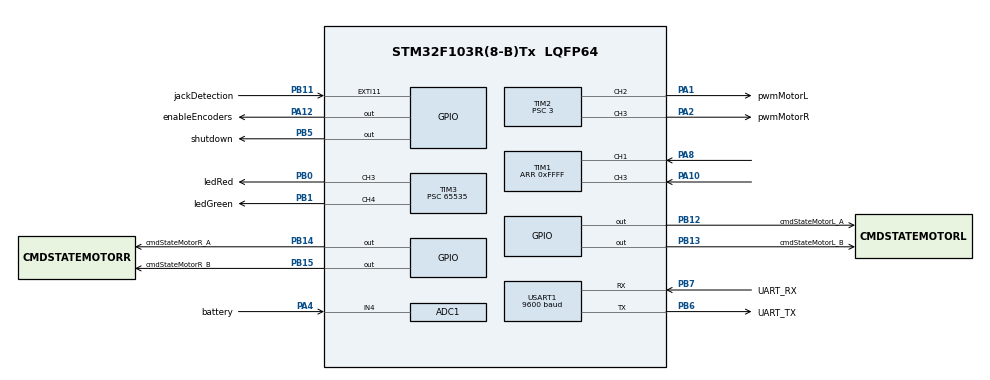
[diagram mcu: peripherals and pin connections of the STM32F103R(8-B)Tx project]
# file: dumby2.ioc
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ADC1.Channel-0\#ChannelRegularConversion=ADC_CHANNEL_4
ADC1.ContinuousConvMode=ENABLE
ADC1.DataAlign=ADC_DATAALIGN_RIGHT
ADC1.DiscontinuousConvMode=DISABLE
ADC1.EnableAnalogWatchDog=false
ADC1.EnableRegularConversion=ENABLE
ADC1.ExternalTrigConv=ADC_SOFTWARE_START
ADC1.InjNumberOfConversion=0
ADC1.NbrOfConversion=1
ADC1.NbrOfConversionFlag=1
ADC1.Rank-0\#ChannelRegularConversion=1
ADC1.SamplingTime-0\#ChannelRegularConversion=ADC_SAMPLETIME_1CYCLE_5
ADC1.ScanConvMode=ADC_SCAN_DISABLE
ADC1.master=1
Dma.ADC1.2.Direction=DMA_PERIPH_TO_MEMORY
Dma.ADC1.2.Instance=DMA1_Channel1
Dma.ADC1.2.MemDataAlignment=DMA_MDATAALIGN_HALFWORD
Dma.ADC1.2.MemInc=DMA_MINC_ENABLE
Dma.ADC1.2.Mode=DMA_CIRCULAR
Dma.ADC1.2.PeriphDataAlignment=DMA_PDATAALIGN_HALFWORD
Dma.ADC1.2.PeriphInc=DMA_PINC_DISABLE
Dma.ADC1.2.Priority=DMA_PRIORITY_LOW
Dma.Request0=USART1_TX
Dma.Request1=USART1_RX
Dma.Request2=ADC1
Dma.Request3=TIM1_CH1
Dma.Request4=TIM1_CH3
Dma.TIM1_CH1.3.Direction=DMA_PERIPH_TO_MEMORY
Dma.TIM1_CH1.3.Instance=DMA1_Channel2
Dma.TIM1_CH1.3.MemDataAlignment=DMA_MDATAALIGN_HALFWORD
Dma.TIM1_CH1.3.MemInc=DMA_MINC_ENABLE
Dma.TIM1_CH1.3.Mode=DMA_CIRCULAR
Dma.TIM1_CH1.3.PeriphDataAlignment=DMA_PDATAALIGN_HALFWORD
Dma.TIM1_CH1.3.PeriphInc=DMA_PINC_DISABLE
Dma.TIM1_CH1.3.Priority=DMA_PRIORITY_LOW
Dma.TIM1_CH3.4.Direction=DMA_PERIPH_TO_MEMORY
Dma.TIM1_CH3.4.Instance=DMA1_Channel6
Dma.TIM1_CH3.4.MemDataAlignment=DMA_MDATAALIGN_HALFWORD
Dma.TIM1_CH3.4.MemInc=DMA_MINC_ENABLE
Dma.TIM1_CH3.4.Mode=DMA_CIRCULAR
Dma.TIM1_CH3.4.PeriphDataAlignment=DMA_PDATAALIGN_HALFWORD
Dma.TIM1_CH3.4.PeriphInc=DMA_PINC_DISABLE
Dma.TIM1_CH3.4.Priority=DMA_PRIORITY_LOW
Dma.USART1_RX.1.Direction=DMA_PERIPH_TO_MEMORY
Dma.USART1_RX.1.Instance=DMA1_Channel5
Dma.USART1_RX.1.MemDataAlignment=DMA_MDATAALIGN_BYTE
Dma.USART1_RX.1.MemInc=DMA_MINC_ENABLE
Dma.USART1_RX.1.Mode=DMA_CIRCULAR
Dma.USART1_RX.1.PeriphDataAlignment=DMA_PDATAALIGN_BYTE
Dma.USART1_RX.1.PeriphInc=DMA_PINC_DISABLE
Dma.USART1_RX.1.Priority=DMA_PRIORITY_LOW
Dma.USART1_TX.0.Direction=DMA_MEMORY_TO_PERIPH
Dma.USART1_TX.0.Instance=DMA1_Channel4
Dma.USART1_TX.0.MemDataAlignment=DMA_MDATAALIGN_BYTE
Dma.USART1_TX.0.MemInc=DMA_MINC_ENABLE
Dma.USART1_TX.0.Mode=DMA_NORMAL
Dma.USART1_TX.0.PeriphDataAlignment=DMA_PDATAALIGN_BYTE
Dma.USART1_TX.0.PeriphInc=DMA_PINC_DISABLE
Dma.USART1_TX.0.Priority=DMA_PRIORITY_LOW
FREERTOS.BinarySemaphores01=synchroMes,Dynamic,NULL
FREERTOS.INCLUDE_vTaskDelayUntil=1
FREERTOS.Mutexes01=cptWD,Dynamic,NULL;wdEnable,Dynamic,NULL;batteryLvl,Dynamic,NULL;dumbyState,Dynamic,NULL;consigne,Dynamic,NULL;busy,Dynamic,NULL;activityCpt,Dynamic,NULL
FREERTOS.Tasks01=reqManager,0,128,StartReqManagerTask,Default,NULL,Dynamic,NULL,NULL;batteryFilter,-3,128,StartBatteryFilterTask,Default,NULL,Dynamic,NULL,NULL;ledManager,-3,128,StartledManagerTask,Default,NULL,Dynamic,NULL,NULL;extinction,-3,128,StartExtinctionTask,Default,NULL,Dynamic,NULL,NULL;controlLaw,-3,128,StartControlLawTask,Default,NULL,Dynamic,NULL,NULL;watchDogCtl,-3,128,StartWDCtl,Default,NULL,Dynamic,NULL,NULL
FREERTOS.configGENERATE_RUN_TIME_STATS=1
FREERTOS.configTOTAL_HEAP_SIZE=6000
FREERTOS.configUSE_STATS_FORMATTING_FUNCTIONS=1
FREERTOS.configUSE_TRACE_FACILITY=1
Mcu.Family=STM32F1
Mcu.Name=STM32F103R(8-B)Tx
Mcu.Package=LQFP64
NVIC.DMA1_Channel1_IRQn=true\:5\:0\:false\:false\:true\:true\:false
NVIC.DMA1_Channel2_IRQn=true\:5\:0\:false\:false\:true\:true\:false
NVIC.DMA1_Channel4_IRQn=true\:5\:0\:false\:false\:true\:true\:false
NVIC.DMA1_Channel5_IRQn=true\:5\:0\:false\:false\:true\:true\:false
NVIC.DMA1_Channel6_IRQn=true\:5\:0\:false\:false\:true\:true\:false
NVIC.PriorityGroup=NVIC_PRIORITYGROUP_4
NVIC.TIM4_IRQn=true\:0\:0\:false\:false\:true\:false\:false
NVIC.TimeBase=TIM4_IRQn
NVIC.TimeBaseIP=TIM4
PA1.GPIO_Label=pwmMotorL
PA1.Signal=S_TIM2_CH2
PA10.Signal=S_TIM1_CH3
PA12.GPIO_Label=enableEncoders
PA12.Signal=GPIO_Output
PA13.Mode=Serial_Wire
PA13.Signal=SYS_JTMS-SWDIO
PA14.Mode=Serial_Wire
PA14.Signal=SYS_JTCK-SWCLK
PA2.GPIO_Label=pwmMotorR
PA2.Signal=S_TIM2_CH3
PA4.GPIO_Label=battery
PA4.Signal=ADCx_IN4
PA8.Signal=S_TIM1_CH1
PB0.GPIO_Label=ledRed
PB0.Signal=S_TIM3_CH3
PB1.GPIO_Label=ledGreen
PB1.Signal=S_TIM3_CH4
PB11.GPIO_Label=jackDetection
PB11.Signal=GPXTI11
PB12.GPIO_Label=cmdStateMotorL_A
PB12.Signal=GPIO_Output
PB13.GPIO_Label=cmdStateMotorL_B
PB13.Signal=GPIO_Output
PB14.GPIO_Label=cmdStateMotorR_A
PB14.Signal=GPIO_Output
PB15.GPIO_Label=cmdStateMotorR_B
PB15.Signal=GPIO_Output
PB5.GPIO_Label=shutdown
PB5.PinState=GPIO_PIN_SET
PB5.Signal=GPIO_Output
PB6.GPIO_Label=UART_TX
PB6.Mode=Asynchronous
PB6.Signal=USART1_TX
PB7.GPIO_Label=UART_RX
PB7.Mode=Asynchronous
PB7.Signal=USART1_RX
ProjectManager.HeapSize=0x200
ProjectManager.StackSize=0x400
ProjectManager.TargetToolchain=MDK-ARM V5
RCC.ADCPresc=RCC_ADCPCLK2_DIV8
RCC.APB1Freq_Value=8000000
RCC.APB2Freq_Value=8000000
SH.ADCx_IN4.0=ADC1_IN4,IN4
SH.S_TIM1_CH1.0=TIM1_CH1,Input_Capture1_from_TI1
SH.S_TIM1_CH3.0=TIM1_CH3,Input_Capture3_from_TI3
SH.S_TIM2_CH2.0=TIM2_CH2,PWM Generation2 CH2
SH.S_TIM2_CH3.0=TIM2_CH3,PWM Generation3 CH3
SH.S_TIM3_CH3.0=TIM3_CH3,PWM Generation3 CH3
SH.S_TIM3_CH4.0=TIM3_CH4,PWM Generation4 CH4
TIM1.Channel-Input_Capture1_from_TI1=TIM_CHANNEL_1
TIM1.Channel-Input_Capture3_from_TI3=TIM_CHANNEL_3
TIM1.Period=0xFFFF
TIM2.Channel-PWM\ Generation2\ CH2=TIM_CHANNEL_2
TIM2.Channel-PWM\ Generation3\ CH3=TIM_CHANNEL_3
TIM2.Period=99
TIM2.Prescaler=3
TIM3.Channel-PWM\ Generation3\ CH3=TIM_CHANNEL_3
TIM3.Channel-PWM\ Generation4\ CH4=TIM_CHANNEL_4
TIM3.Period=121
TIM3.Prescaler=65535
USART1.BaudRate=9600
USART1.VirtualMode=VM_ASYNC
VP_FREERTOS_VS_ENABLE.Mode=Enabled
VP_SYS_VS_tim4.Mode=TIM4
VP_TIM1_VS_ClockSourceINT.Mode=Internal
board=dumby2

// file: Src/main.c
/**
  ******************************************************************************
  * File Name          : main.c
  * Description        : Main program body
  ******************************************************************************
  * This notice applies to any and all portions of this file
  * that are not between comment pairs USER CODE BEGIN and
  * USER CODE END. Other portions of this file, whether
  * inserted by the user or by software development tools
  * are owned by their respective copyright owners.
  *
  * Copyright (c) 2018 STMicroelectronics International N.V.
  * All rights reserved.
  *
  * Redistribution and use in source and binary forms, with or without
  * modification, are permitted, provided that the following conditions are met:
  *
  * 1. Redistribution of source code must retain the above copyright notice,
  *    this list of conditions and the following disclaimer.
  * 2. Redistributions in binary form must reproduce the above copyright notice,
  *    this list of conditions and the following disclaimer in the documentation
  *    and/or other materials provided with the distribution.
  * 3. Neither the name of STMicroelectronics nor the names of other
  *    contributors to this software may be used to endorse or promote products
  *    derived from this software without specific written permission.
  * 4. This software, including modifications and/or derivative works of this
  *    software, must execute solely and exclusively on microcontroller or
  *    microprocessor devices manufactured by or for STMicroelectronics.
  * 5. Redistribution and use of this software other than as permitted under
  *    this license is void and will automatically terminate your rights under
  *    this license.
  *
  * THIS SOFTWARE IS PROVIDED BY STMICROELECTRONICS AND CONTRIBUTORS "AS IS"
  * AND ANY EXPRESS, IMPLIED OR STATUTORY WARRANTIES, INCLUDING, BUT NOT
  * LIMITED TO, THE IMPLIED WARRANTIES OF MERCHANTABILITY, FITNESS FOR A
  * PARTICULAR PURPOSE AND NON-INFRINGEMENT OF THIRD PARTY INTELLECTUAL PROPERTY
  * RIGHTS ARE DISCLAIMED TO THE FULLEST EXTENT PERMITTED BY LAW. IN NO EVENT
  * SHALL STMICROELECTRONICS OR CONTRIBUTORS BE LIABLE FOR ANY DIRECT, INDIRECT,
  * INCIDENTAL, SPECIAL, EXEMPLARY, OR CONSEQUENTIAL DAMAGES (INCLUDING, BUT NOT
  * LIMITED TO, PROCUREMENT OF SUBSTITUTE GOODS OR SERVICES; LOSS OF USE, DATA,
  * OR PROFITS; OR BUSINESS INTERRUPTION) HOWEVER CAUSED AND ON ANY THEORY OF
  * LIABILITY, WHETHER IN CONTRACT, STRICT LIABILITY, OR TORT (INCLUDING
  * NEGLIGENCE OR OTHERWISE) ARISING IN ANY WAY OUT OF THE USE OF THIS SOFTWARE,
  * EVEN IF ADVISED OF THE POSSIBILITY OF SUCH DAMAGE.
  *
  ******************************************************************************
  */

#include "main.h"
#include "stm32f1xx_hal.h"
#include "cmsis_os.h"
#include "adc.h"
#include "dma.h"
#include "tim.h"
#include "usart.h"
#include "gpio.h"

/* USER CODE BEGIN Includes */
#include "Led.h"
#include "common.h"
#include "Motor.h"
#include "serviceCom.h"
#include "xbee.h"
#include "Battery.h"

/* USER CODE END Includes */

/* USER CODE BEGIN PV */
/* Private variables ---------------------------------------------------------*/

/* USER CODE END PV */

void SystemClock_Config(void);
void MX_FREERTOS_Init(void);

/* USER CODE BEGIN PFP */
/* Private function prototypes -----------------------------------------------*/

/* USER CODE END PFP */

int main(void)
{

  /* MCU Configuration----------------------------------------------------------*/

  /* Reset of all peripherals, Initializes the Flash interface and the Systick. */
  HAL_Init();

  /* Configure the system clock */
  SystemClock_Config();

  /* Initialize all configured peripherals */
  MX_GPIO_Init();
  MX_DMA_Init();
  MX_USART1_UART_Init();
  MX_ADC1_Init();
  MX_TIM3_Init();
  MX_TIM1_Init();
  MX_TIM2_Init();

  /* USER CODE BEGIN 2 */
	volatile int i = 0;
	for(i = 0; i< 100000; i++);
  /* USER CODE END 2 */

  /* Call init function for freertos objects (in freertos.c) */
  MX_FREERTOS_Init();

  /* Start scheduler */
  osKernelStart();

  /* We should never get here as control is now taken by the scheduler */

  /* Infinite loop */
  while (1)
  {

  }

}

/** System Clock Configuration
*/
void SystemClock_Config(void)
{

  RCC_OscInitTypeDef RCC_OscInitStruct;
  RCC_ClkInitTypeDef RCC_ClkInitStruct;
  RCC_PeriphCLKInitTypeDef PeriphClkInit;

    /**Initializes the CPU, AHB and APB busses clocks
    */
  RCC_OscInitStruct.OscillatorType = RCC_OSCILLATORTYPE_HSI;
  RCC_OscInitStruct.HSIState = RCC_HSI_ON;
  RCC_OscInitStruct.HSICalibrationValue = 16;
  RCC_OscInitStruct.PLL.PLLState = RCC_PLL_NONE;
  if (HAL_RCC_OscConfig(&RCC_OscInitStruct) != HAL_OK)
  {
    _Error_Handler(__FILE__, __LINE__);
  }

    /**Initializes the CPU, AHB and APB busses clocks
    */
  RCC_ClkInitStruct.ClockType = RCC_CLOCKTYPE_HCLK|RCC_CLOCKTYPE_SYSCLK
                              |RCC_CLOCKTYPE_PCLK1|RCC_CLOCKTYPE_PCLK2;
  RCC_ClkInitStruct.SYSCLKSource = RCC_SYSCLKSOURCE_HSI;
  RCC_ClkInitStruct.AHBCLKDivider = RCC_SYSCLK_DIV1;
  RCC_ClkInitStruct.APB1CLKDivider = RCC_HCLK_DIV1;
  RCC_ClkInitStruct.APB2CLKDivider = RCC_HCLK_DIV1;

  if (HAL_RCC_ClockConfig(&RCC_ClkInitStruct, FLASH_LATENCY_0) != HAL_OK)
  {
    _Error_Handler(__FILE__, __LINE__);
  }

  PeriphClkInit.PeriphClockSelection = RCC_PERIPHCLK_ADC;
  PeriphClkInit.AdcClockSelection = RCC_ADCPCLK2_DIV8;
  if (HAL_RCCEx_PeriphCLKConfig(&PeriphClkInit) != HAL_OK)
  {
    _Error_Handler(__FILE__, __LINE__);
  }

    /**Configure the Systick interrupt time
    */
  HAL_SYSTICK_Config(HAL_RCC_GetHCLKFreq()/1000);

    /**Configure the Systick
    */
  HAL_SYSTICK_CLKSourceConfig(SYSTICK_CLKSOURCE_HCLK);

  /* SysTick_IRQn interrupt configuration */
  HAL_NVIC_SetPriority(SysTick_IRQn, 15, 0);
}

void HAL_TIM_PeriodElapsedCallback(TIM_HandleTypeDef *htim)
{
  if (htim->Instance == TIM4) {
    HAL_IncTick();
  }
}

void _Error_Handler(char * file, int line)
{
  while(1)
  {
  }
}

/************************ (C) COPYRIGHT STMicroelectronics *****END OF FILE****/

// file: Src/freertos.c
/**
 ******************************************************************************
 * File Name          : freertos.c
 * Description        : Code for freertos applications
 ******************************************************************************
 * This notice applies to any and all portions of this file
 * that are not between comment pairs USER CODE BEGIN and
 * USER CODE END. Other portions of this file, whether
 * inserted by the user or by software development tools
 * are owned by their respective copyright owners.
 *
 * Copyright (c) 2018 STMicroelectronics International N.V.
 * All rights reserved.
 *
 * Redistribution and use in source and binary forms, with or without
 * modification, are permitted, provided that the following conditions are met:
 *
 * 1. Redistribution of source code must retain the above copyright notice,
 *    this list of conditions and the following disclaimer.
 * 2. Redistributions in binary form must reproduce the above copyright notice,
 *    this list of conditions and the following disclaimer in the documentation
 *    and/or other materials provided with the distribution.
 * 3. Neither the name of STMicroelectronics nor the names of other
 *    contributors to this software may be used to endorse or promote products
 *    derived from this software without specific written permission.
 * 4. This software, including modifications and/or derivative works of this
 *    software, must execute solely and exclusively on microcontroller or
 *    microprocessor devices manufactured by or for STMicroelectronics.
 * 5. Redistribution and use of this software other than as permitted under
 *    this license is void and will automatically terminate your rights under
 *    this license.
 *
 * THIS SOFTWARE IS PROVIDED BY STMICROELECTRONICS AND CONTRIBUTORS "AS IS"
 * AND ANY EXPRESS, IMPLIED OR STATUTORY WARRANTIES, INCLUDING, BUT NOT
 * LIMITED TO, THE IMPLIED WARRANTIES OF MERCHANTABILITY, FITNESS FOR A
 * PARTICULAR PURPOSE AND NON-INFRINGEMENT OF THIRD PARTY INTELLECTUAL PROPERTY
 * RIGHTS ARE DISCLAIMED TO THE FULLEST EXTENT PERMITTED BY LAW. IN NO EVENT
 * SHALL STMICROELECTRONICS OR CONTRIBUTORS BE LIABLE FOR ANY DIRECT, INDIRECT,
 * INCIDENTAL, SPECIAL, EXEMPLARY, OR CONSEQUENTIAL DAMAGES (INCLUDING, BUT NOT
 * LIMITED TO, PROCUREMENT OF SUBSTITUTE GOODS OR SERVICES; LOSS OF USE, DATA,
 * OR PROFITS; OR BUSINESS INTERRUPTION) HOWEVER CAUSED AND ON ANY THEORY OF
 * LIABILITY, WHETHER IN CONTRACT, STRICT LIABILITY, OR TORT (INCLUDING
 * NEGLIGENCE OR OTHERWISE) ARISING IN ANY WAY OUT OF THE USE OF THIS SOFTWARE,
 * EVEN IF ADVISED OF THE POSSIBILITY OF SUCH DAMAGE.
 *
 ******************************************************************************
 */

#include "FreeRTOS.h"
#include "task.h"
#include "cmsis_os.h"

/* USER CODE BEGIN Includes */
#include "sharedData.h"
#include "common.h"
#include "Battery.h"
#include "serviceCom.h"
#include "Led.h"
#include "Xbee.h"
#include "mRequest.h"
#include "Motor.h"
#include <stdlib.h>

/* USER CODE END Includes */

osThreadId defaultTaskHandle;
osThreadId reqManagerHandle;
osThreadId batteryFilterHandle;
osThreadId ledManagerHandle;
osThreadId extinctionHandle;
osThreadId controlLawHandle;
osThreadId watchDogCtlHandle;
//osMutexId activityCptHandle;
//osMutexId cptWDHandle;
//osMutexId wdEnableHandle;
//osMutexId batteryLvlHandle;
//osMutexId dumbyStateHandle;
//osMutexId consigneHandle;
//osMutexId busyHandle;
//osSemaphoreId synchroMesHandle;

void StartDefaultTask(void const * argument);
void StartReqManager(void const * argument);
void StartBatteryFilter(void const * argument);
void StartLedManager(void const * argument);
void StartExtinction(void const * argument);
void StartControlLow(void const * argument);
void StartWatchDogCtl(void const * argument);

void MX_FREERTOS_Init(void); /* (MISRA C 2004 rule 8.1) */

/* Hook prototypes */
void configureTimerForRunTimeStats(void);
unsigned long getRunTimeCounterValue(void);

/* USER CODE BEGIN 1 */
/* Functions needed when configGENERATE_RUN_TIME_STATS is on */
__weak void configureTimerForRunTimeStats(void)
{

}

__weak unsigned long getRunTimeCounterValue(void)
{
	return 0;
}
/* USER CODE END 1 */

/* Init FreeRTOS */

void MX_FREERTOS_Init(void) {

	/* Create the mutex(es) */
	/* definition and creation of activityCpt */
	osMutexDef(activityCpt);
	activityCptHandle = osMutexCreate(osMutex(activityCpt));

	/* definition and creation of cptWD */
	osMutexDef(cptWD);
	cptWDHandle = osMutexCreate(osMutex(cptWD));

	/* definition and creation of wdEnable */
	osMutexDef(wdEnable);
	wdEnableHandle = osMutexCreate(osMutex(wdEnable));

	/* definition and creation of batteryLvl */
	osMutexDef(batteryLvl);
	batteryLvlHandle = osMutexCreate(osMutex(batteryLvl));

	/* definition and creation of dumbyState */
	osMutexDef(dumbyState);
	dumbyStateHandle = osMutexCreate(osMutex(dumbyState));

	/* definition and creation of consigne */
	osMutexDef(consigne);
	consigneHandle = osMutexCreate(osMutex(consigne));

	/* definition and creation of busy */
	osMutexDef(busy);
	busyHandle = osMutexCreate(osMutex(busy));

	/* Create the semaphores(s) */
	/* definition and creation of synchroMes */
	osSemaphoreDef(synchroMes);
	synchroMesHandle = osSemaphoreCreate(osSemaphore(synchroMes), 1);

	/* Create the thread(s) */
	/* definition and creation of defaultTask */
	osThreadDef(defaultTask, StartDefaultTask, osPriorityNormal, 0, 128);
	defaultTaskHandle = osThreadCreate(osThread(defaultTask), NULL);

	/* definition and creation of reqManager */
	osThreadDef(reqManager, StartReqManager, osPriorityIdle, 0, 128);
	reqManagerHandle = osThreadCreate(osThread(reqManager), NULL);

	/* definition and creation of batteryFilter */
	osThreadDef(batteryFilter, StartBatteryFilter, osPriorityIdle, 0, 128);
	batteryFilterHandle = osThreadCreate(osThread(batteryFilter), NULL);

	/* definition and creation of ledManager */
	osThreadDef(ledManager, StartLedManager, osPriorityIdle, 0, 128);
	ledManagerHandle = osThreadCreate(osThread(ledManager), NULL);

	/* definition and creation of extinction */
	osThreadDef(extinction, StartExtinction, osPriorityIdle, 0, 128);
	extinctionHandle = osThreadCreate(osThread(extinction), NULL);

	/* definition and creation of controlLaw */
	osThreadDef(controlLaw, StartControlLow, osPriorityHigh, 0, 128);
	controlLawHandle = osThreadCreate(osThread(controlLaw), NULL);

	/* definition and creation of watchDogCtl */
	osThreadDef(watchDogCtl, StartWatchDogCtl, osPriorityAboveNormal, 0, 128);
	watchDogCtlHandle = osThreadCreate(osThread(watchDogCtl), NULL);

}

/* StartDefaultTask function */
void StartDefaultTask(void const * argument)
{

	for(;;)
	{
		osDelay(1);
	}
}

/* StartReqManager function */
void StartReqManager(void const * argument)
{
	/* USER CODE BEGIN StartReqManager */
	comInit();
	char message[2];
	/* Infinite loop */
	for(;;)
	{
		osSemaphoreWait(synchroMesHandle,osWaitForever);
		setDumberActivity(BUSY);
		message[0] = RxBuffer[8];
		message[1] = manageMessage(RxBuffer);
		xbeeSend(0x0001,message);
	}
	/* USER CODE END StartReqManager */
}

/* StartBatteryFilter function */
void StartBatteryFilter(void const * argument)
{

	/* USER CODE BEGIN StartBatteryFilter */
	BATTERY_INIT();
	char bat;
	/* Infinite loop */
	for(;;)
	{
		bat = BATTERY_FILTER();
		setDumberBattery(bat);
		osDelay(200);
	}
	/* USER CODE END StartBatteryFilter */
}

/* StartLedManager function */
void StartLedManager(void const * argument)
{
	/* USER CODE BEGIN StartLedManager */
	LED_INIT();
	/* Infinite loop */
	for(;;)
	{
		char state = getDumberState();
		char bat = getDumberBattery();

		if(state == DISABLED)
			LED_SET(LED_RED,75);
		else if(state == IDLE){
			if(bat > BATTERY_MEDIUM)
				LED_SET(LED_GREEN,25);
			else if(bat > BATTERY_LOW)
				LED_SET(LED_ORANGE,25);
		}
		else if(state == RUN){
			if(bat > BATTERY_MEDIUM)
				LED_SET(LED_GREEN,122);
			else if(bat > BATTERY_LOW)
				LED_SET(LED_ORANGE, 122);
		}
		if(bat < BATTERY_LOW){
			setDumberState(DISABLED);
		}
		osDelay(200);
	}
	/* USER CODE END StartLedManager */
}

/* StartExtinction function */
void StartExtinction(void const * argument)
{
	/* USER CODE BEGIN StartExtinction */
	int cptTimeOut = TIME_OUT;
	/* Infinite loop */
	// Savoir Lorsqu'un message arrive
	// Décompter le temps entre chaque message
	// si on a un changement d'état sur busy ou si on reçoit un message valide.
	// on remet le compteur à zero
	// Sinon on incrémente le compteur d'inactivité
	for(;;)
	{
		if(cptTimeOut == 0){
			// Shutdown
			HAL_GPIO_TogglePin(GPIOB,GPIO_PIN_5);
		}
		// On ne décrémente le compteur seulement si le robot est noté comme NOT_BUSY
		// Si celui-ci est BUSY on remet à jour le compteur à TIME_OUT et on reset le compteur

		if(getDumberActivity() == NOT_BUSY)
			cptTimeOut-=100;
		else{
			setDumberActivity(NOT_BUSY);
			cptTimeOut = TIME_OUT;
		}
		osDelay(100);
	}
	/* USER CODE END StartExtinction */
}

/* StartControlLow function */
void StartControlLow(void const * argument)
{
	/* USER CODE BEGIN StartControlLow */
	MOTOR_INIT(MOTOR_LEFT);

	MOTOR_INIT(MOTOR_RIGHT);
	ENCODER_INIT();
	Consigne consigne;
	/* Infinite loop */
	for(;;)
	{
		consigne = getDumberConsigne();
		// BangBang Vitesse
		if(speedL < consigne.motorLSpeed && distanceL < abs(consigne.motorLDistance *7)){
			if(consigne.motorLDistance < 0){
				MOTOR_LEFT_SET(MOTOR_BACKWARD,100);
			}else{
				MOTOR_LEFT_SET(MOTOR_FORWARD,100);
			}

		}else{
			MOTOR_LEFT_SET(MOTOR_FORWARD,0);
		}
		if(speedR < consigne.motorRSpeed && distanceR < abs(consigne.motorRDistance *7) ){
			if(consigne.motorRDistance < 0){
				MOTOR_RIGHT_SET(MOTOR_BACKWARD,100);
			}else{
				MOTOR_RIGHT_SET(MOTOR_FORWARD,100);
			}
		}else{
			MOTOR_RIGHT_SET(MOTOR_FORWARD,0);;
		}

		osDelay(1);
	}
	/* USER CODE END StartControlLow */
}

/* StartWatchDogCtl function */
void StartWatchDogCtl(void const * argument)
{
	/* USER CODE BEGIN StartWatchDogCtl */
	int cptWd;
	/* Infinite loop */
	for(;;)
	{
		if(getDumberWdActive() == WD_ACTIVE){
			cptWd = getDumberCptWd();
			setDumberCptWd(cptWd+5);
			if(cptWd > (WD_BASE_TIME*WD_TRYING_NUMBER)){
				setDumberState(DISABLED);
			}
		}
	    osDelay(5);
	}
	/* USER CODE END StartWatchDogCtl */
}

/************************ (C) COPYRIGHT STMicroelectronics *****END OF FILE****/
